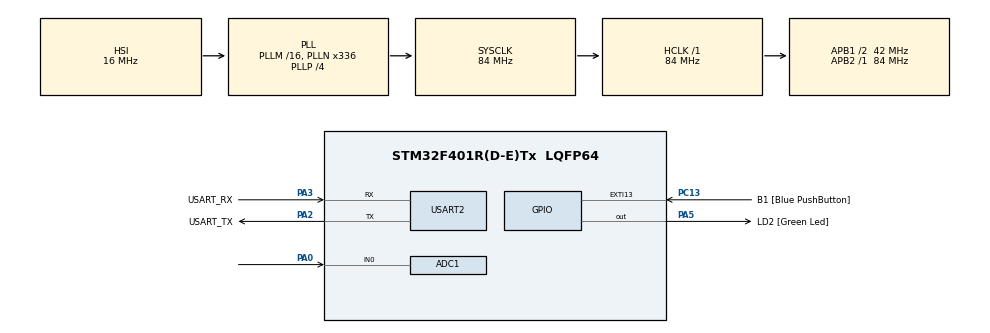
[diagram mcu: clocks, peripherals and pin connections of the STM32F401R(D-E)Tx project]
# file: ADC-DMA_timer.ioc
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ADC1.Channel-0\#ChannelRegularConversion=ADC_CHANNEL_0
ADC1.ContinuousConvMode=DISABLE
ADC1.DMAContinuousRequests=ENABLE
ADC1.ExternalTrigConv=ADC_EXTERNALTRIGCONV_T3_TRGO
ADC1.NbrOfConversion=1
ADC1.NbrOfConversionFlag=1
ADC1.Rank-0\#ChannelRegularConversion=1
ADC1.SamplingTime-0\#ChannelRegularConversion=ADC_SAMPLETIME_480CYCLES
ADC1.master=1
Dma.ADC1.0.Direction=DMA_PERIPH_TO_MEMORY
Dma.ADC1.0.FIFOMode=DMA_FIFOMODE_DISABLE
Dma.ADC1.0.Instance=DMA2_Stream0
Dma.ADC1.0.MemDataAlignment=DMA_MDATAALIGN_HALFWORD
Dma.ADC1.0.MemInc=DMA_MINC_ENABLE
Dma.ADC1.0.Mode=DMA_CIRCULAR
Dma.ADC1.0.PeriphDataAlignment=DMA_PDATAALIGN_HALFWORD
Dma.ADC1.0.PeriphInc=DMA_PINC_DISABLE
Dma.ADC1.0.Priority=DMA_PRIORITY_LOW
Dma.Request0=ADC1
Mcu.Family=STM32F4
Mcu.Name=STM32F401R(D-E)Tx
Mcu.Package=LQFP64
NVIC.ADC_IRQn=true\:1\:0\:true\:false\:true\:true\:true
NVIC.DMA2_Stream0_IRQn=true\:1\:0\:true\:false\:true\:false\:true
NVIC.PriorityGroup=NVIC_PRIORITYGROUP_1
PA0-WKUP.Signal=ADCx_IN0
PA13.GPIO_Label=TMS
PA13.Mode=Serial_Wire
PA13.Signal=SYS_JTMS-SWDIO
PA14.GPIO_Label=TCK
PA14.Mode=Serial_Wire
PA14.Signal=SYS_JTCK-SWCLK
PA2.GPIO_Label=USART_TX
PA2.GPIO_Mode=GPIO_MODE_AF_PP
PA2.GPIO_PuPd=GPIO_NOPULL
PA2.GPIO_Speed=GPIO_SPEED_FREQ_LOW
PA2.Mode=Asynchronous
PA2.Signal=USART2_TX
PA3.GPIO_Label=USART_RX
PA3.GPIO_Mode=GPIO_MODE_AF_PP
PA3.GPIO_PuPd=GPIO_NOPULL
PA3.GPIO_Speed=GPIO_SPEED_FREQ_LOW
PA3.Mode=Asynchronous
PA3.Signal=USART2_RX
PA5.GPIO_Label=LD2 [Green Led]
PA5.GPIO_Mode=GPIO_MODE_OUTPUT_PP
PA5.GPIO_PuPd=GPIO_NOPULL
PA5.GPIO_Speed=GPIO_SPEED_FREQ_LOW
PA5.Signal=GPIO_Output
PB3.GPIO_Label=SWO
PB3.Signal=SYS_JTDO-SWO
PC13-ANTI_TAMP.GPIO_Label=B1 [Blue PushButton]
PC13-ANTI_TAMP.GPIO_ModeDefaultEXTI=GPIO_MODE_IT_FALLING
PC13-ANTI_TAMP.GPIO_PuPd=GPIO_NOPULL
PC13-ANTI_TAMP.Signal=GPXTI13
PC14-OSC32_IN.Mode=LSE-External-Oscillator
PC14-OSC32_IN.Signal=RCC_OSC32_IN
PC15-OSC32_OUT.Mode=LSE-External-Oscillator
PC15-OSC32_OUT.Signal=RCC_OSC32_OUT
PH0\ -\ OSC_IN.Mode=HSE-External-Clock-Source
PH0\ -\ OSC_IN.Signal=RCC_OSC_IN
PH1\ -\ OSC_OUT.Mode=HSE-External-Clock-Source
PH1\ -\ OSC_OUT.Signal=RCC_OSC_OUT
ProjectManager.HeapSize=0x200
ProjectManager.StackSize=0x400
ProjectManager.TargetToolchain=STM32CubeIDE
RCC.48MHZClocksFreq_Value=48000000
RCC.AHBFreq_Value=84000000
RCC.APB1CLKDivider=RCC_HCLK_DIV2
RCC.APB1Freq_Value=42000000
RCC.APB1TimFreq_Value=84000000
RCC.APB2Freq_Value=84000000
RCC.APB2TimFreq_Value=84000000
RCC.CortexFreq_Value=84000000
RCC.HCLKFreq_Value=84000000
RCC.HSE_VALUE=8000000
RCC.HSI_VALUE=16000000
RCC.PLLN=336
RCC.PLLP=RCC_PLLP_DIV4
RCC.PLLQ=7
RCC.SYSCLKFreq_VALUE=84000000
RCC.SYSCLKSource=RCC_SYSCLKSOURCE_PLLCLK
RCC.VCOOutputFreq_Value=336000000
SH.ADCx_IN0.0=ADC1_IN0,IN0
TIM3.Period=2000-1
TIM3.Prescaler=42-1
TIM3.TIM_MasterOutputTrigger=TIM_TRGO_UPDATE
USART2.VirtualMode=VM_ASYNC
VP_TIM3_VS_ClockSourceINT.Mode=Internal
board=NUCLEO-F401RE

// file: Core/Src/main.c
/* USER CODE BEGIN Header */
/**
 ******************************************************************************
 * @file           : main.c
 * @brief          : Project 3b: acquisition of Light Dependant Resistor
 ******************************************************************************
 * @attention
 *
 * <h2><center>&copy; Copyright (c) 2021 STMicroelectronics.
 * All rights reserved.</center></h2>
 *
 * This software component is licensed by ST under BSD 3-Clause license,
 * the "License"; You may not use this file except in compliance with the
 * License. You may obtain a copy of the License at:
 *                        opensource.org/licenses/BSD-3-Clause
 *
 ******************************************************************************
 */
/* USER CODE END Header */
#include "main.h"

/* USER CODE BEGIN Includes */
#include "stdio.h"
#include "math.h"
/* USER CODE END Includes */

/* USER CODE BEGIN PD */
#define NSAMPLES 1000
#define bufflen 2*NSAMPLES
/* USER CODE END PD */

ADC_HandleTypeDef hadc1;
DMA_HandleTypeDef hdma_adc1;

TIM_HandleTypeDef htim3;

UART_HandleTypeDef huart2;

/* USER CODE BEGIN PV */
uint16_t data[bufflen];
/* USER CODE END PV */

void SystemClock_Config(void);
static void MX_GPIO_Init(void);
static void MX_USART2_UART_Init(void);
static void MX_DMA_Init(void);
static void MX_ADC1_Init(void);
static void MX_TIM3_Init(void);
/* USER CODE BEGIN PFP */
void calculateAvgAndSend(int half);
/* USER CODE END PFP */

int main(void) {

	/* MCU Configuration--------------------------------------------------------*/

	/* Reset of all peripherals, Initializes the Flash interface and the Systick. */
	HAL_Init();

	/* Configure the system clock */
	SystemClock_Config();

	/* USER CODE BEGIN SysInit */
	MX_DMA_Init();
	/* USER CODE END SysInit */

	/* Initialize all configured peripherals */
	MX_GPIO_Init();
	MX_USART2_UART_Init();
	MX_DMA_Init();
	MX_ADC1_Init();
	MX_TIM3_Init();
	/* USER CODE BEGIN 2 */
	HAL_TIM_Base_Start(&htim3);
	HAL_ADC_Start_DMA(&hadc1, (uint32_t*) data, bufflen);
	/* USER CODE END 2 */

	/* Infinite loop */
	while (1) {

	}
}

void SystemClock_Config(void) {
	RCC_OscInitTypeDef RCC_OscInitStruct = { 0 };
	RCC_ClkInitTypeDef RCC_ClkInitStruct = { 0 };

	/** Configure the main internal regulator output voltage
	 */
	__HAL_RCC_PWR_CLK_ENABLE();
	__HAL_PWR_VOLTAGESCALING_CONFIG(PWR_REGULATOR_VOLTAGE_SCALE2);
	/** Initializes the RCC Oscillators according to the specified parameters
	 * in the RCC_OscInitTypeDef structure.
	 */
	RCC_OscInitStruct.OscillatorType = RCC_OSCILLATORTYPE_HSI;
	RCC_OscInitStruct.HSIState = RCC_HSI_ON;
	RCC_OscInitStruct.HSICalibrationValue = RCC_HSICALIBRATION_DEFAULT;
	RCC_OscInitStruct.PLL.PLLState = RCC_PLL_ON;
	RCC_OscInitStruct.PLL.PLLSource = RCC_PLLSOURCE_HSI;
	RCC_OscInitStruct.PLL.PLLM = 16;
	RCC_OscInitStruct.PLL.PLLN = 336;
	RCC_OscInitStruct.PLL.PLLP = RCC_PLLP_DIV4;
	RCC_OscInitStruct.PLL.PLLQ = 7;
	if (HAL_RCC_OscConfig(&RCC_OscInitStruct) != HAL_OK) {
		Error_Handler();
	}
	/** Initializes the CPU, AHB and APB buses clocks
	 */
	RCC_ClkInitStruct.ClockType = RCC_CLOCKTYPE_HCLK | RCC_CLOCKTYPE_SYSCLK
			| RCC_CLOCKTYPE_PCLK1 | RCC_CLOCKTYPE_PCLK2;
	RCC_ClkInitStruct.SYSCLKSource = RCC_SYSCLKSOURCE_PLLCLK;
	RCC_ClkInitStruct.AHBCLKDivider = RCC_SYSCLK_DIV1;
	RCC_ClkInitStruct.APB1CLKDivider = RCC_HCLK_DIV2;
	RCC_ClkInitStruct.APB2CLKDivider = RCC_HCLK_DIV1;

	if (HAL_RCC_ClockConfig(&RCC_ClkInitStruct, FLASH_LATENCY_2) != HAL_OK) {
		Error_Handler();
	}
}

static void MX_ADC1_Init(void) {

	ADC_ChannelConfTypeDef sConfig = { 0 };

	/** Configure the global features of the ADC (Clock, Resolution, Data Alignment and number of conversion)
	 */
	hadc1.Instance = ADC1;
	hadc1.Init.ClockPrescaler = ADC_CLOCK_SYNC_PCLK_DIV4;
	hadc1.Init.Resolution = ADC_RESOLUTION_12B;
	hadc1.Init.ScanConvMode = DISABLE;
	hadc1.Init.ContinuousConvMode = DISABLE;
	hadc1.Init.DiscontinuousConvMode = DISABLE;
	hadc1.Init.ExternalTrigConvEdge = ADC_EXTERNALTRIGCONVEDGE_RISING;
	hadc1.Init.ExternalTrigConv = ADC_EXTERNALTRIGCONV_T3_TRGO;
	hadc1.Init.DataAlign = ADC_DATAALIGN_RIGHT;
	hadc1.Init.NbrOfConversion = 1;
	hadc1.Init.DMAContinuousRequests = ENABLE;
	hadc1.Init.EOCSelection = ADC_EOC_SINGLE_CONV;
	if (HAL_ADC_Init(&hadc1) != HAL_OK) {
		Error_Handler();
	}
	/** Configure for the selected ADC regular channel its corresponding rank in the sequencer and its sample time.
	 */
	sConfig.Channel = ADC_CHANNEL_0;
	sConfig.Rank = 1;
	sConfig.SamplingTime = ADC_SAMPLETIME_480CYCLES;
	if (HAL_ADC_ConfigChannel(&hadc1, &sConfig) != HAL_OK) {
		Error_Handler();
	}

}

static void MX_TIM3_Init(void) {

	TIM_ClockConfigTypeDef sClockSourceConfig = { 0 };
	TIM_MasterConfigTypeDef sMasterConfig = { 0 };

	htim3.Instance = TIM3;
	htim3.Init.Prescaler = 42 - 1;
	htim3.Init.CounterMode = TIM_COUNTERMODE_UP;
	htim3.Init.Period = 2000 - 1;
	htim3.Init.ClockDivision = TIM_CLOCKDIVISION_DIV1;
	htim3.Init.AutoReloadPreload = TIM_AUTORELOAD_PRELOAD_DISABLE;
	if (HAL_TIM_Base_Init(&htim3) != HAL_OK) {
		Error_Handler();
	}
	sClockSourceConfig.ClockSource = TIM_CLOCKSOURCE_INTERNAL;
	if (HAL_TIM_ConfigClockSource(&htim3, &sClockSourceConfig) != HAL_OK) {
		Error_Handler();
	}
	sMasterConfig.MasterOutputTrigger = TIM_TRGO_UPDATE;
	sMasterConfig.MasterSlaveMode = TIM_MASTERSLAVEMODE_DISABLE;
	if (HAL_TIMEx_MasterConfigSynchronization(&htim3, &sMasterConfig)
			!= HAL_OK) {
		Error_Handler();
	}

}

static void MX_USART2_UART_Init(void) {

	huart2.Instance = USART2;
	huart2.Init.BaudRate = 115200;
	huart2.Init.WordLength = UART_WORDLENGTH_8B;
	huart2.Init.StopBits = UART_STOPBITS_1;
	huart2.Init.Parity = UART_PARITY_NONE;
	huart2.Init.Mode = UART_MODE_TX_RX;
	huart2.Init.HwFlowCtl = UART_HWCONTROL_NONE;
	huart2.Init.OverSampling = UART_OVERSAMPLING_16;
	if (HAL_UART_Init(&huart2) != HAL_OK) {
		Error_Handler();
	}

}

static void MX_DMA_Init(void) {

	/* DMA controller clock enable */
	__HAL_RCC_DMA2_CLK_ENABLE();

	/* DMA interrupt init */
	/* DMA2_Stream0_IRQn interrupt configuration */
	HAL_NVIC_SetPriority(DMA2_Stream0_IRQn, 1, 0);
	HAL_NVIC_EnableIRQ(DMA2_Stream0_IRQn);

}

static void MX_GPIO_Init(void) {
	GPIO_InitTypeDef GPIO_InitStruct = { 0 };

	/* GPIO Ports Clock Enable */
	__HAL_RCC_GPIOC_CLK_ENABLE();
	__HAL_RCC_GPIOH_CLK_ENABLE();
	__HAL_RCC_GPIOA_CLK_ENABLE();
	__HAL_RCC_GPIOB_CLK_ENABLE();

	/*Configure GPIO pin Output Level */
	HAL_GPIO_WritePin(LD2_GPIO_Port, LD2_Pin, GPIO_PIN_RESET);

	/*Configure GPIO pin : B1_Pin */
	GPIO_InitStruct.Pin = B1_Pin;
	GPIO_InitStruct.Mode = GPIO_MODE_IT_FALLING;
	GPIO_InitStruct.Pull = GPIO_NOPULL;
	HAL_GPIO_Init(B1_GPIO_Port, &GPIO_InitStruct);

	/*Configure GPIO pin : LD2_Pin */
	GPIO_InitStruct.Pin = LD2_Pin;
	GPIO_InitStruct.Mode = GPIO_MODE_OUTPUT_PP;
	GPIO_InitStruct.Pull = GPIO_NOPULL;
	GPIO_InitStruct.Speed = GPIO_SPEED_FREQ_LOW;
	HAL_GPIO_Init(LD2_GPIO_Port, &GPIO_InitStruct);

}

/* USER CODE BEGIN 4 */
void HAL_ADC_ConvHalfCpltCallback(ADC_HandleTypeDef *hadc) {
	calculateAvgAndSend(0);
}

void HAL_ADC_ConvCpltCallback(ADC_HandleTypeDef *hadc) {
	calculateAvgAndSend(1);
}

void calculateAvgAndSend(int half) {
	double average = 0.0;
	for (int i = 0; i < 1000; i++) {
		average += (double) data[i + half * NSAMPLES] / (double) NSAMPLES;
	}

	average *= (3.3 / 4096.0);

	double resistance = average*100000.0/(3.3 - average);
	double lux = 10*pow(100000.0/resistance, 1.25);

	char string[128];
	int length = sprintf(string, "%s => resistance: %.3f - lux: %.3f\r\n",
			(half ? "Full" : "Half"), resistance, lux);

	HAL_UART_Transmit(&huart2, string, length, 1000);
}

/* USER CODE END 4 */

void Error_Handler(void) {
	__disable_irq();
	while (1) {
	}
}

/************************ (C) COPYRIGHT STMicroelectronics *****END OF FILE****/
